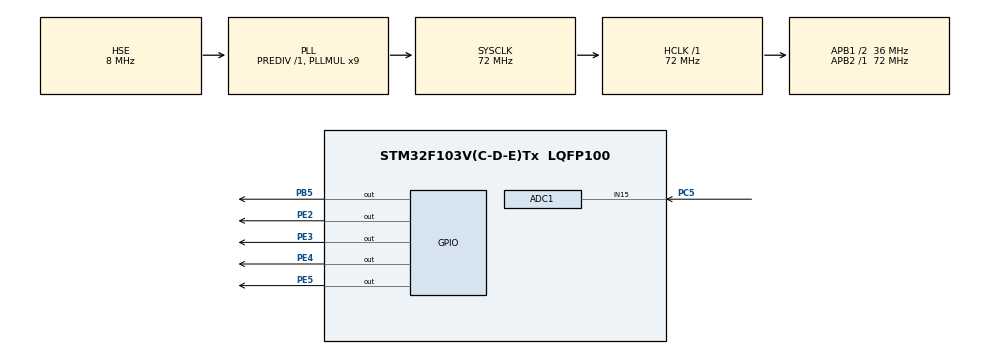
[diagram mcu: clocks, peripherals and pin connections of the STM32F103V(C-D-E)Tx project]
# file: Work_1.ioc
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ADC1.Channel-0\#ChannelRegularConversion=ADC_CHANNEL_15
ADC1.ContinuousConvMode=ENABLE
ADC1.DataAlign=ADC_DATAALIGN_RIGHT
ADC1.DiscontinuousConvMode=DISABLE
ADC1.EnableAnalogWatchDog=false
ADC1.EnableRegularConversion=ENABLE
ADC1.ExternalTrigConv=ADC_SOFTWARE_START
ADC1.InjNumberOfConversion=0
ADC1.NbrOfConversion=1
ADC1.NbrOfConversionFlag=1
ADC1.Rank-0\#ChannelRegularConversion=1
ADC1.SamplingTime-0\#ChannelRegularConversion=ADC_SAMPLETIME_1CYCLE_5
ADC1.ScanConvMode=ADC_SCAN_DISABLE
ADC1.master=1
Dma.ADC1.0.Direction=DMA_PERIPH_TO_MEMORY
Dma.ADC1.0.Instance=DMA1_Channel1
Dma.ADC1.0.MemDataAlignment=DMA_MDATAALIGN_HALFWORD
Dma.ADC1.0.MemInc=DMA_MINC_ENABLE
Dma.ADC1.0.Mode=DMA_NORMAL
Dma.ADC1.0.PeriphDataAlignment=DMA_PDATAALIGN_WORD
Dma.ADC1.0.PeriphInc=DMA_PINC_DISABLE
Dma.ADC1.0.Priority=DMA_PRIORITY_LOW
Dma.Request0=ADC1
Mcu.Family=STM32F1
Mcu.Name=STM32F103V(C-D-E)Tx
Mcu.Package=LQFP100
NVIC.DMA1_Channel1_IRQn=true\:0\:0\:false\:false\:true\:false
NVIC.PriorityGroup=NVIC_PRIORITYGROUP_4
NVIC.TIM6_IRQn=true\:0\:0\:false\:false\:true\:true
OSC_IN.Mode=HSE-External-Oscillator
OSC_IN.Signal=RCC_OSC_IN
OSC_OUT.Mode=HSE-External-Oscillator
OSC_OUT.Signal=RCC_OSC_OUT
PB5.Signal=GPIO_Output
PC5.Signal=ADCx_IN15
PE2.Signal=GPIO_Output
PE3.Signal=GPIO_Output
PE4.Signal=GPIO_Output
PE5.Signal=GPIO_Output
ProjectManager.HeapSize=0x200
ProjectManager.StackSize=0x400
ProjectManager.TargetToolchain=EWARM
RCC.ADCPresc=RCC_ADCPCLK2_DIV6
RCC.AHBFreq_Value=72000000
RCC.APB1CLKDivider=RCC_HCLK_DIV2
RCC.APB1Freq_Value=36000000
RCC.APB1TimFreq_Value=72000000
RCC.APB2Freq_Value=72000000
RCC.APB2TimFreq_Value=72000000
RCC.HCLKFreq_Value=72000000
RCC.PLLMUL=RCC_PLL_MUL9
RCC.PLLSourceVirtual=RCC_PLLSOURCE_HSE
RCC.SYSCLKFreq_VALUE=72000000
RCC.SYSCLKSource=RCC_SYSCLKSOURCE_PLLCLK
RCC.USBFreq_Value=72000000
SH.ADCx_IN15.0=ADC1_IN15,IN15
TIM6.Period=199
TIM6.Prescaler=36000
VP_SYS_VS_ND.Mode=No_Debug
VP_TIM6_VS_ClockSourceINT.Mode=Enable_Timer
board=custom

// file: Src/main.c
/**
  ******************************************************************************
  * @file           : main.c
  * @brief          : Main program body
  ******************************************************************************
  ** This notice applies to any and all portions of this file
  * that are not between comment pairs USER CODE BEGIN and
  * USER CODE END. Other portions of this file, whether
  * inserted by the user or by software development tools
  * are owned by their respective copyright owners.
  *
  * COPYRIGHT(c) 2018 STMicroelectronics
  *
  * Redistribution and use in source and binary forms, with or without modification,
  * are permitted provided that the following conditions are met:
  *   1. Redistributions of source code must retain the above copyright notice,
  *      this list of conditions and the following disclaimer.
  *   2. Redistributions in binary form must reproduce the above copyright notice,
  *      this list of conditions and the following disclaimer in the documentation
  *      and/or other materials provided with the distribution.
  *   3. Neither the name of STMicroelectronics nor the names of its contributors
  *      may be used to endorse or promote products derived from this software
  *      without specific prior written permission.
  *
  * THIS SOFTWARE IS PROVIDED BY THE COPYRIGHT HOLDERS AND CONTRIBUTORS "AS IS"
  * AND ANY EXPRESS OR IMPLIED WARRANTIES, INCLUDING, BUT NOT LIMITED TO, THE
  * IMPLIED WARRANTIES OF MERCHANTABILITY AND FITNESS FOR A PARTICULAR PURPOSE ARE
  * DISCLAIMED. IN NO EVENT SHALL THE COPYRIGHT HOLDER OR CONTRIBUTORS BE LIABLE
  * FOR ANY DIRECT, INDIRECT, INCIDENTAL, SPECIAL, EXEMPLARY, OR CONSEQUENTIAL
  * DAMAGES (INCLUDING, BUT NOT LIMITED TO, PROCUREMENT OF SUBSTITUTE GOODS OR
  * SERVICES; LOSS OF USE, DATA, OR PROFITS; OR BUSINESS INTERRUPTION) HOWEVER
  * CAUSED AND ON ANY THEORY OF LIABILITY, WHETHER IN CONTRACT, STRICT LIABILITY,
  * OR TORT (INCLUDING NEGLIGENCE OR OTHERWISE) ARISING IN ANY WAY OUT OF THE USE
  * OF THIS SOFTWARE, EVEN IF ADVISED OF THE POSSIBILITY OF SUCH DAMAGE.
  *
  ******************************************************************************
  */
#include "main.h"
#include "stm32f1xx_hal.h"

ADC_HandleTypeDef hadc1;
DMA_HandleTypeDef hdma_adc1;

TIM_HandleTypeDef htim6;

/* USER CODE BEGIN PV */
/* Private variables ---------------------------------------------------------*/

/* USER CODE END PV */

void SystemClock_Config(void);
static void MX_GPIO_Init(void);
static void MX_DMA_Init(void);
static void MX_ADC1_Init(void);
static void MX_TIM6_Init(void);

/* USER CODE BEGIN PFP */
/* Private function prototypes -----------------------------------------------*/

/* USER CODE END PFP */

int main(void)
{

  /* MCU Configuration----------------------------------------------------------*/

  /* Reset of all peripherals, Initializes the Flash interface and the Systick. */
  HAL_Init();

  /* Configure the system clock */
  SystemClock_Config();

  /* Initialize all configured peripherals */
  MX_GPIO_Init();
  MX_DMA_Init();
  MX_ADC1_Init();
  MX_TIM6_Init();

  /* Infinite loop */
  /* USER CODE BEGIN WHILE */
  uint32_t ADC_Value_32[1] = {0};
  uint16_t ADC_Value_16;
  while (1)
  {
    HAL_ADC_Start_DMA(&hadc1, ADC_Value_32, 1);
    ADC_Value_16=(uint16_t)ADC_Value_32[0];
    ADC_Value_16 &= 0xFFF;

    HAL_GPIO_WritePin(GPIOE,GPIO_PIN_2|GPIO_PIN_3|GPIO_PIN_4, GPIO_PIN_RESET);
    if(ADC_Value_16 <= 1000){
      HAL_GPIO_WritePin(GPIOE,GPIO_PIN_2, GPIO_PIN_SET);
    }
    else if (ADC_Value_16 <= 2000){
      HAL_GPIO_WritePin(GPIOE,GPIO_PIN_3, GPIO_PIN_SET);
    }
    else if (ADC_Value_16 <= 3000){
      HAL_GPIO_WritePin(GPIOE,GPIO_PIN_4, GPIO_PIN_SET);
    }
    else if (ADC_Value_16 <= 4000){
      HAL_GPIO_WritePin(GPIOE,GPIO_PIN_2|GPIO_PIN_3, GPIO_PIN_SET);
    }
    else{
      HAL_GPIO_WritePin(GPIOE,GPIO_PIN_2|GPIO_PIN_3|GPIO_PIN_4, GPIO_PIN_SET);
    }
  /* USER CODE END WHILE */

  }

}

void SystemClock_Config(void)
{

  RCC_OscInitTypeDef RCC_OscInitStruct;
  RCC_ClkInitTypeDef RCC_ClkInitStruct;
  RCC_PeriphCLKInitTypeDef PeriphClkInit;

    /**Initializes the CPU, AHB and APB busses clocks
    */
  RCC_OscInitStruct.OscillatorType = RCC_OSCILLATORTYPE_HSE;
  RCC_OscInitStruct.HSEState = RCC_HSE_ON;
  RCC_OscInitStruct.HSEPredivValue = RCC_HSE_PREDIV_DIV1;
  RCC_OscInitStruct.HSIState = RCC_HSI_ON;
  RCC_OscInitStruct.PLL.PLLState = RCC_PLL_ON;
  RCC_OscInitStruct.PLL.PLLSource = RCC_PLLSOURCE_HSE;
  RCC_OscInitStruct.PLL.PLLMUL = RCC_PLL_MUL9;
  if (HAL_RCC_OscConfig(&RCC_OscInitStruct) != HAL_OK)
  {
    _Error_Handler(__FILE__, __LINE__);
  }

    /**Initializes the CPU, AHB and APB busses clocks
    */
  RCC_ClkInitStruct.ClockType = RCC_CLOCKTYPE_HCLK|RCC_CLOCKTYPE_SYSCLK
                              |RCC_CLOCKTYPE_PCLK1|RCC_CLOCKTYPE_PCLK2;
  RCC_ClkInitStruct.SYSCLKSource = RCC_SYSCLKSOURCE_PLLCLK;
  RCC_ClkInitStruct.AHBCLKDivider = RCC_SYSCLK_DIV1;
  RCC_ClkInitStruct.APB1CLKDivider = RCC_HCLK_DIV2;
  RCC_ClkInitStruct.APB2CLKDivider = RCC_HCLK_DIV1;

  if (HAL_RCC_ClockConfig(&RCC_ClkInitStruct, FLASH_LATENCY_2) != HAL_OK)
  {
    _Error_Handler(__FILE__, __LINE__);
  }

  PeriphClkInit.PeriphClockSelection = RCC_PERIPHCLK_ADC;
  PeriphClkInit.AdcClockSelection = RCC_ADCPCLK2_DIV6;
  if (HAL_RCCEx_PeriphCLKConfig(&PeriphClkInit) != HAL_OK)
  {
    _Error_Handler(__FILE__, __LINE__);
  }

    /**Configure the Systick interrupt time
    */
  HAL_SYSTICK_Config(HAL_RCC_GetHCLKFreq()/1000);

    /**Configure the Systick
    */
  HAL_SYSTICK_CLKSourceConfig(SYSTICK_CLKSOURCE_HCLK);

  /* SysTick_IRQn interrupt configuration */
  HAL_NVIC_SetPriority(SysTick_IRQn, 0, 0);
}

/* ADC1 init function */
static void MX_ADC1_Init(void)
{

  ADC_ChannelConfTypeDef sConfig;

    /**Common config
    */
  hadc1.Instance = ADC1;
  hadc1.Init.ScanConvMode = ADC_SCAN_DISABLE;
  hadc1.Init.ContinuousConvMode = ENABLE;
  hadc1.Init.DiscontinuousConvMode = DISABLE;
  hadc1.Init.ExternalTrigConv = ADC_SOFTWARE_START;
  hadc1.Init.DataAlign = ADC_DATAALIGN_RIGHT;
  hadc1.Init.NbrOfConversion = 1;
  if (HAL_ADC_Init(&hadc1) != HAL_OK)
  {
    _Error_Handler(__FILE__, __LINE__);
  }

    /**Configure Regular Channel
    */
  sConfig.Channel = ADC_CHANNEL_15;
  sConfig.Rank = ADC_REGULAR_RANK_1;
  sConfig.SamplingTime = ADC_SAMPLETIME_1CYCLE_5;
  if (HAL_ADC_ConfigChannel(&hadc1, &sConfig) != HAL_OK)
  {
    _Error_Handler(__FILE__, __LINE__);
  }

}

/* TIM6 init function */
static void MX_TIM6_Init(void)
{

  TIM_MasterConfigTypeDef sMasterConfig;

  htim6.Instance = TIM6;
  htim6.Init.Prescaler = 36000;
  htim6.Init.CounterMode = TIM_COUNTERMODE_UP;
  htim6.Init.Period = 199;
  htim6.Init.AutoReloadPreload = TIM_AUTORELOAD_PRELOAD_DISABLE;
  if (HAL_TIM_Base_Init(&htim6) != HAL_OK)
  {
    _Error_Handler(__FILE__, __LINE__);
  }

  sMasterConfig.MasterOutputTrigger = TIM_TRGO_RESET;
  sMasterConfig.MasterSlaveMode = TIM_MASTERSLAVEMODE_DISABLE;
  if (HAL_TIMEx_MasterConfigSynchronization(&htim6, &sMasterConfig) != HAL_OK)
  {
    _Error_Handler(__FILE__, __LINE__);
  }

}

static void MX_DMA_Init(void)
{
  /* DMA controller clock enable */
  __HAL_RCC_DMA1_CLK_ENABLE();

  /* DMA interrupt init */
  /* DMA1_Channel1_IRQn interrupt configuration */
  HAL_NVIC_SetPriority(DMA1_Channel1_IRQn, 0, 0);
  HAL_NVIC_EnableIRQ(DMA1_Channel1_IRQn);

}

/** Configure pins as
        * Analog
        * Input
        * Output
        * EVENT_OUT
        * EXTI
*/
static void MX_GPIO_Init(void)
{

  GPIO_InitTypeDef GPIO_InitStruct;

  /* GPIO Ports Clock Enable */
  __HAL_RCC_GPIOE_CLK_ENABLE();
  __HAL_RCC_GPIOC_CLK_ENABLE();
  __HAL_RCC_GPIOB_CLK_ENABLE();

  /*Configure GPIO pin Output Level */
  HAL_GPIO_WritePin(GPIOE, GPIO_PIN_2|GPIO_PIN_3|GPIO_PIN_4|GPIO_PIN_5, GPIO_PIN_RESET);

  /*Configure GPIO pin Output Level */
  HAL_GPIO_WritePin(GPIOB, GPIO_PIN_5, GPIO_PIN_RESET);

  /*Configure GPIO pins : PE2 PE3 PE4 PE5 */
  GPIO_InitStruct.Pin = GPIO_PIN_2|GPIO_PIN_3|GPIO_PIN_4|GPIO_PIN_5;
  GPIO_InitStruct.Mode = GPIO_MODE_OUTPUT_PP;
  GPIO_InitStruct.Pull = GPIO_NOPULL;
  GPIO_InitStruct.Speed = GPIO_SPEED_FREQ_LOW;
  HAL_GPIO_Init(GPIOE, &GPIO_InitStruct);

  /*Configure GPIO pin : PB5 */
  GPIO_InitStruct.Pin = GPIO_PIN_5;
  GPIO_InitStruct.Mode = GPIO_MODE_OUTPUT_PP;
  GPIO_InitStruct.Pull = GPIO_NOPULL;
  GPIO_InitStruct.Speed = GPIO_SPEED_FREQ_LOW;
  HAL_GPIO_Init(GPIOB, &GPIO_InitStruct);

}

void _Error_Handler(char *file, int line)
{
  while(1)
  {
  }
}

/************************ (C) COPYRIGHT STMicroelectronics *****END OF FILE****/
